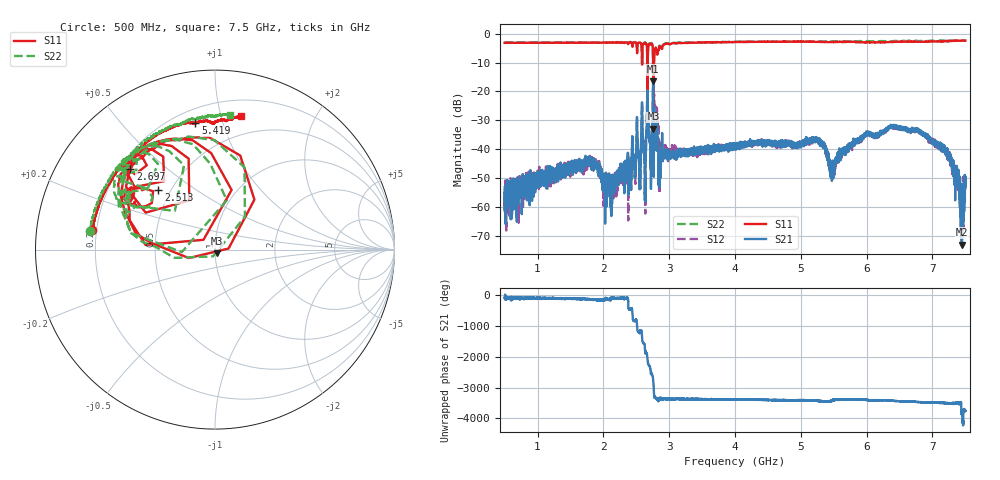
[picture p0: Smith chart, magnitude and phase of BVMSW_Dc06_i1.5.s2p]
!Keysight Technologies,M9374A,MY55442783,A.12.55.05
!Date: Friday, May 21, 2021 09:38:51
!Correction: S11(Full 2 Port(1,2))
!S21(Full 2 Port(1,2))
!S12(Full 2 Port(1,2))
!S22(Full 2 Port(1,2))
!S2P File: Measurements: S11, S21, S12, S22:
# Hz S  RI  R 50
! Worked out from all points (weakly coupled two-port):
!   7001 points, 500 MHz to 7.5 GHz, reference 50 ohm
!   highest |S21| = -16.55 dB at 2.757 GHz (marker M1); lowest = -72.9 dB at 7.446 GHz (marker M2)
!   lowest |S11| = -32.9 dB at 2.761 GHz (marker M3), VSWR 1.05, Z = 50.9 - j2.1 ohm
!   |S11| at or under -10 dB: 2.587754 GHz to 2.589613 GHz (1.859 MHz wide, 0.0718 % of centre); 2.668268 GHz to 2.675234 GHz (6.967 MHz wide, 0.261 % of centre); 2.757 GHz to 2.77 GHz (13.85 MHz wide, 0.501 % of centre)
!   |S22| runs from -28.2 to -2.4 dB; largest |S21 - S12| = 0.073
!   S11 on the Smith chart (normalised r, x): 500 MHz: 0.18, +0.07; 2.513 GHz: 0.43, +0.36; 2.697 GHz: 0.24, +0.38; 5.419 GHz: 0.28, +0.82; 7.5 GHz: 0.33, +1.16
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5e8  -0.684 0.1066  0.00029 -0.00218  0.000481 -0.000727  -0.6967 0.102
1.667e9  -0.607 0.3386  -0.00334 -0.00338  -0.00327 -0.00419  -0.6255 0.3254
1.885e9  -0.5814 0.3794  -0.0043 -0.00276  -0.00607 -0.00304  -0.6033 0.3651
2.129e9  -0.548 0.4327  -0.00156 -0.00202  -0.0019 -0.00232  -0.5745 0.4135
2.513e9  -0.3149 0.3308  0.0182 0.0269  0.0203 0.0212  -0.4193 0.3233
2.697e9  -0.4723 0.4512  -0.0122 -0.0103  -0.0148 -0.00996  -0.4931 0.4454
2.716e9  -0.3961 0.5219  -0.00206 0.00749  0.00354 0.00589  -0.4223 0.5192
2.757e9  0.2097 0.1902  -0.0736 0.1292  -0.0782 0.1257  0.1516 0.1175
2.761e9  0.00968 -0.0206  0.0987 0.0268  0.0767 0.056  -0.0854 -0.0541
2.787e9  -0.4836 0.2393  0.000523 -0.0161  -0.052 -0.0179  -0.4934 0.2336
2.834e9  -0.4479 0.2607  -0.0112 0.00144  -0.0112 -0.0211  -0.4477 0.2469
2.877e9  -0.4608 0.3457  -0.000274 -0.00804  -0.000457 -0.0125  -0.4766 0.3148
4e9  -0.3564 0.621  -0.00996 -0.00623  -0.00909 -0.00651  -0.3924 0.6021
5.167e9  -0.1468 0.7067  -0.0151 0.00013  -0.015 -0.00125  -0.2239 0.6962
5.419e9  -0.1095 0.7044  -0.00621 0.00559  -0.00571 0.00436  -0.1895 0.6971
5.48e9  -0.1043 0.7076  -0.00499 4.16e-05  -0.00521 0.00101  -0.1867 0.7031
5.803e9  -0.044 0.72  -0.011 -0.00674  -0.012 -0.00783  -0.1422 0.7264
6.334e9  0.00361 0.7139  -0.0243 0.000718  -0.0232 0.00125  -0.0702 0.7388
7.158e9  0.0984 0.7292  -0.00165 0.00984  -0.00225 0.0101  0.0409 0.7479
7.382e9  0.1284 0.7397  0.000566 0.0027  7.23e-05 0.00245  0.0698 0.7533
7.446e9  0.1394 0.743  4.23e-05 0.000223  -0.000203 -0.00067  0.0731 0.7515
7.5e9  0.1463 0.7436  -0.00225 -0.00159  -0.00276 -0.000872  0.0834 0.7526
